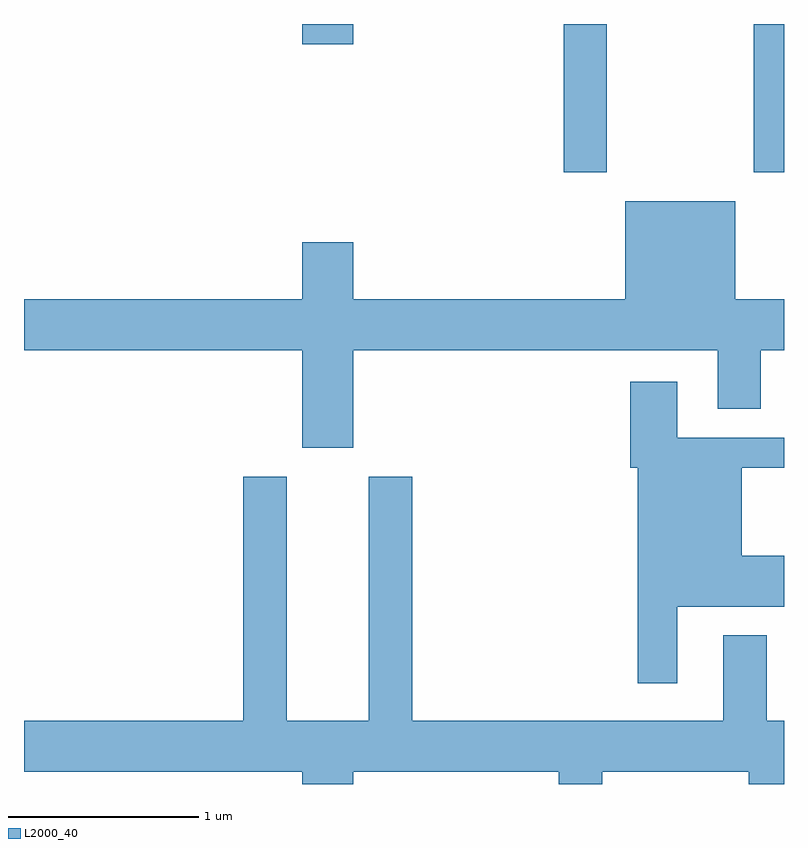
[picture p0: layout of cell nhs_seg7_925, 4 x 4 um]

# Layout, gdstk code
import gdstk
lib = gdstk.Library(unit=1e-6, precision=1e-09)
def R(c, l, rs):  # rectangles x0, y0, x1, y1
    for r in rs: c.add(gdstk.rectangle(r[:2], r[2:], *l))
def P(c, l, *ps):  # polygons
    for p in ps: c.add(gdstk.Polygon(p, *l))
L2000_40 = (2000, 40)

nhs_seg7_925 = lib.new_cell('nhs_seg7_925')
R(nhs_seg7_925, L2000_40, [(216.451,1717.471,216.679,1718.252), (217.451,1717.471,217.611,1718.252), (215.076,1718.146,215.344,1718.252)])
P(nhs_seg7_925, L2000_40, [(215.344,1716.536),(217.261,1716.536),(217.261,1716.226),(217.489,1716.226),(217.489,1716.536),(217.611,1716.536),(217.611,1716.804),(217.354,1716.804),(217.354,1717.319),(216.776,1717.319),(216.776,1716.804),(215.344,1716.804),(215.344,1717.104),(215.076,1717.104),(215.076,1716.804),(213.611,1716.804),(213.611,1716.536),(215.076,1716.536),(215.076,1716.021),(215.344,1716.021)],
  [(217.049,1715.186),(217.611,1715.186),(217.611,1715.454),(217.389,1715.454),(217.389,1715.916),(217.611,1715.916),(217.611,1716.074),(217.049,1716.074),(217.049,1716.369),(216.801,1716.369),(216.801,1715.916),(216.841,1715.916),(216.841,1714.781),(217.049,1714.781)],
  [(215.344,1714.316),(216.426,1714.316),(216.426,1714.252),(216.654,1714.252),(216.654,1714.316),(217.426,1714.316),(217.426,1714.252),(217.611,1714.252),(217.611,1714.584),(217.519,1714.584),(217.519,1715.034),(217.291,1715.034),(217.291,1714.584),(215.654,1714.584),(215.654,1715.869),(215.426,1715.869),(215.426,1714.584),(214.994,1714.584),(214.994,1715.869),(214.766,1715.869),(214.766,1714.584),(213.611,1714.584),(213.611,1714.316),(215.076,1714.316),(215.076,1714.252),(215.344,1714.252)])

lib.write_gds('nhs_seg7_925.gds')
